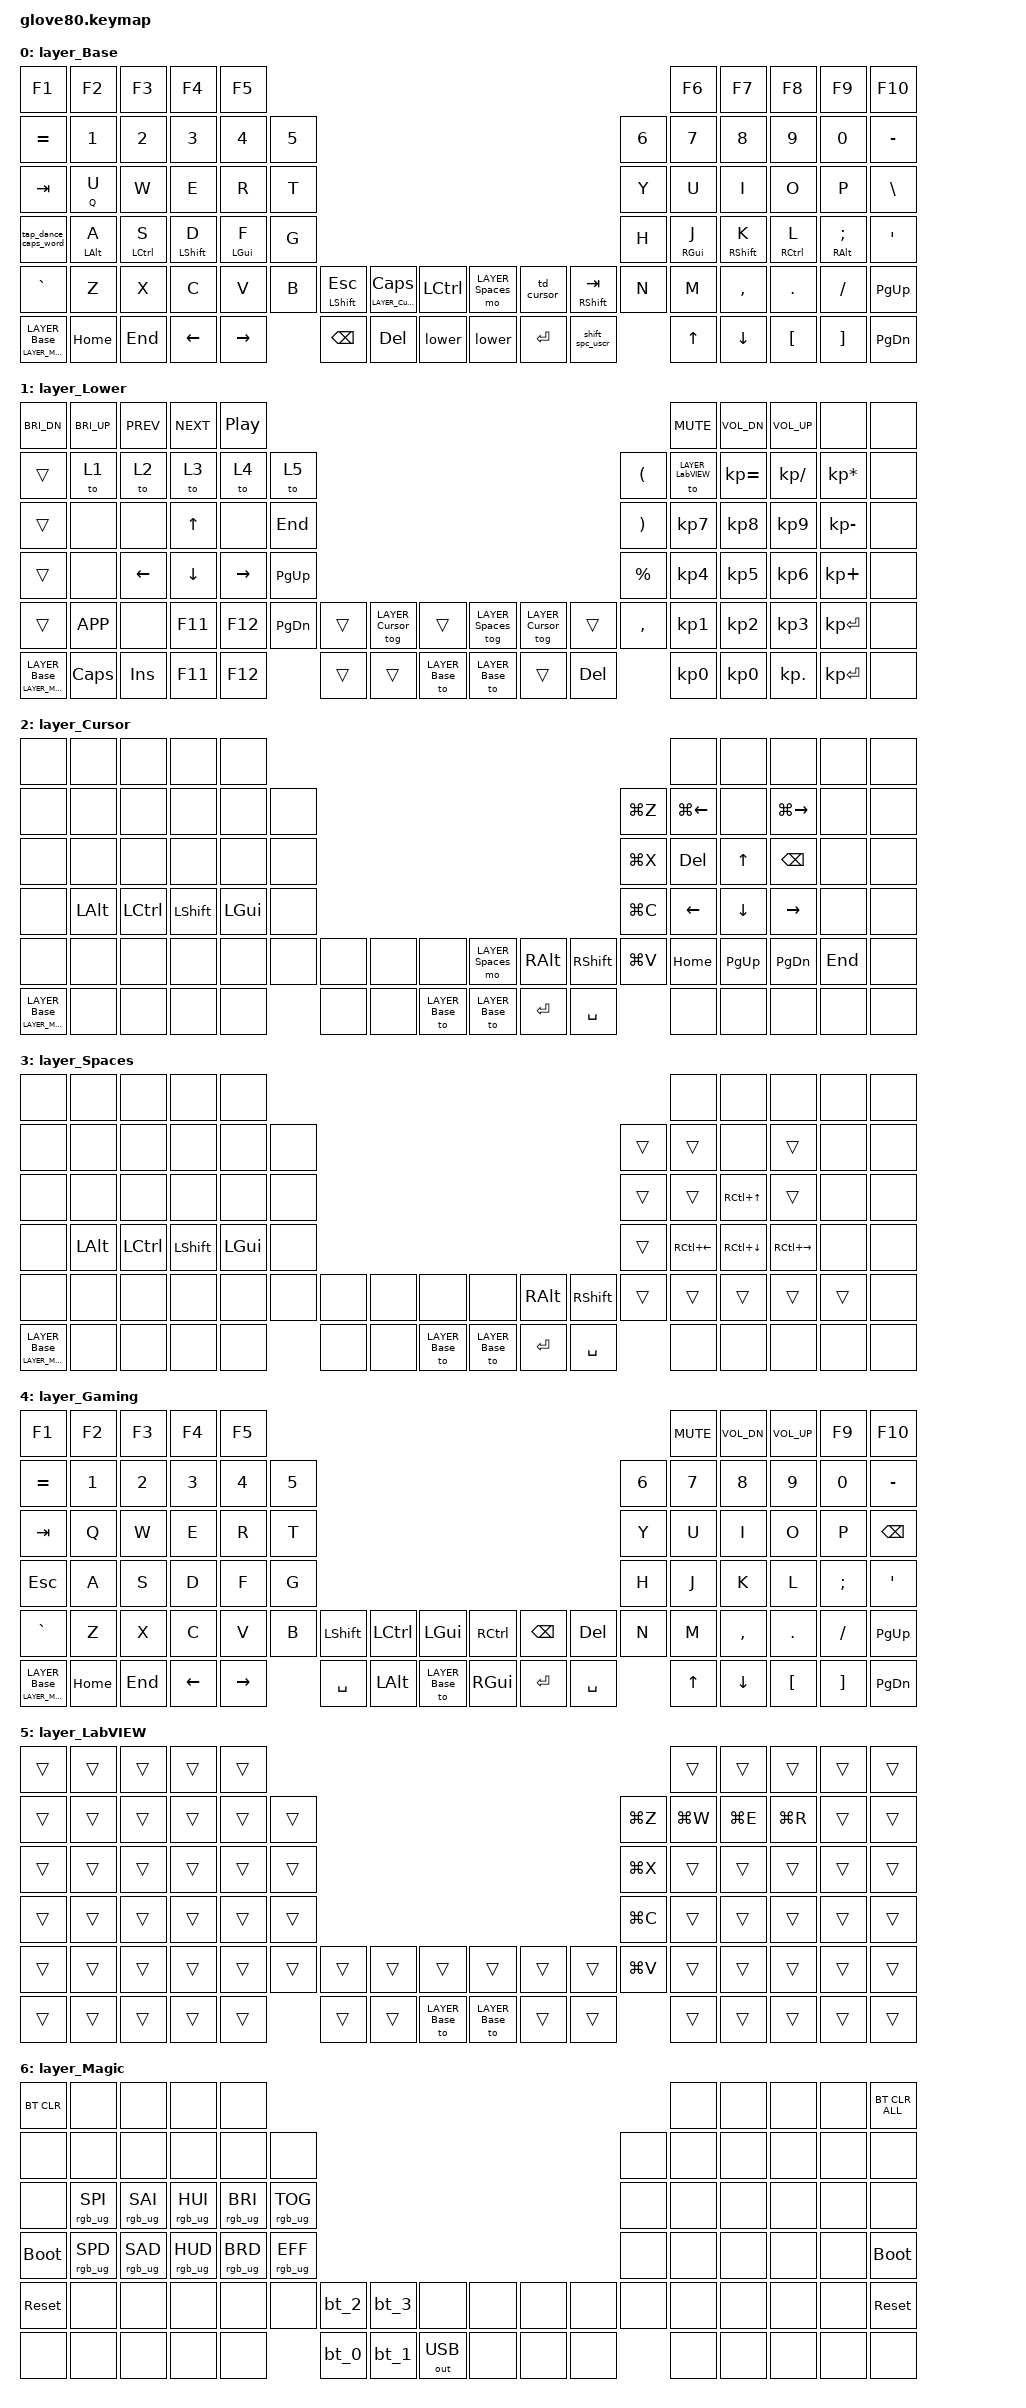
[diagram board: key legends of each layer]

/*
 * Copyright (c) 2020 The ZMK Contributors
 * Copyright (c) 2022 Innaworks Development Limited, trading as MoErgo
 *
 * SPDX-License-Identifier: MIT
 */


/* THIS FILE WAS GENERATED BY GLOVE80 LAYOUT EDITOR
 *
 * This file was generated automatically. You may or may not want to
 * edit it directly.
 */

/* comment to trigger keymap-drawing  */

#include <behaviors.dtsi>

/* Include behaviour includes needed by key binds - automatically generated */
#include <dt-bindings/zmk/keys.h>
#include <dt-bindings/zmk/bt.h>
#include <dt-bindings/zmk/rgb.h>
#include <dt-bindings/zmk/outputs.h>

#define LAYER_Base    0
#define LAYER_Lower   1
#define LAYER_Cursor  2
#define LAYER_Spaces  3
#define LAYER_Gaming  4
#define LAYER_LabVIEW 5
#define LAYER_Magic   6
// #define LAYER_Factory 7

/ {
    /* Glove80 system behavior & macros */
    behaviors {
        // For the "layer" key, it'd nice to be able to use it as either a shift or a toggle.
        // Configure it as a tap dance, so the first tap (or hold) is a &mo and the second tap is a &to
        lower: tap_dance_0 {
            compatible = "zmk,behavior-tap-dance";
            label = "LAYER_TAP_DANCE";
            #binding-cells = <0>;
            tapping-term-ms = <200>;
            bindings = <&mo LAYER_Lower>, <&to LAYER_Lower>;
        };
    };
};

/ {
    macros {
        rgb_ug_status_macro: rgb_ug_status_macro_0 {
            label = "RGB_UG_STATUS";
            compatible = "zmk,behavior-macro";
            #binding-cells = <0>;
            bindings
                = <&rgb_ug RGB_STATUS>;
        };

        bt_0: bt_profile_macro_0 {
            label = "BT_0";
            compatible = "zmk,behavior-macro";
            #binding-cells = <0>;
            bindings
                = <&out OUT_BLE>,
                  <&bt BT_SEL 0>;
        };

        bt_1: bt_profile_macro_1 {
            label = "BT_1";
            compatible = "zmk,behavior-macro";
            #binding-cells = <0>;
            bindings
                = <&out OUT_BLE>,
                  <&bt BT_SEL 1>;
        };

        bt_2: bt_profile_macro_2 {
            label = "BT_2";
            compatible = "zmk,behavior-macro";
            #binding-cells = <0>;
            bindings
                = <&out OUT_BLE>,
                  <&bt BT_SEL 2>;
        };

        bt_3: bt_profile_macro_3 {
            label = "BT_3";
            compatible = "zmk,behavior-macro";
            #binding-cells = <0>;
            bindings
                = <&out OUT_BLE>,
                  <&bt BT_SEL 3>;
        };

////////////////////////////////////////////////////////
//    Layer switch with RGB is disabled because an    //
//    upstream ZMK bug means RGBs in macros only      //
//    light up the left (main) side of the keyboard   //
////////////////////////////////////////////////////////
/*        
        to_layer_4_rgb_on: to_layer_4_rgb_on {
            label = "TO_LAYER_4_RGB_ON";
            compatible = "zmk,behavior-macro";
            #binding-cells = <0>;
            bindings
                = <&rgb_ug RGB_TOG>,
                  <&to 4>;
        };

        to_layer_0_rgb_off: to_layer_0_rgb_off {
            label = "TO_LAYER_0_RGB_OFF";
            compatible = "zmk,behavior-macro";
            #binding-cells = <0>;
            bindings
                = <&rgb_ug RGB_OFF>,
                  <&to 0>;
        };
*/
        ZMK_MACRO(Qu,
            wait-ms = <10>;
            tap-ms = <10>;
            bindings = <&macro_tap &kp Q>
                , <&macro_release &kp LSHFT>
                , <&macro_release &kp RSHFT>
                , <&macro_tap &kp U>
                ;
        )

        ZMK_MACRO(caps_macro,
            tap-ms = <200>;
            bindings = <&kp CAPS>;
        )
    
    };
};

/ {
    magic: magic_hold_tap {
        compatible = "zmk,behavior-hold-tap";
        label = "LAYER_Magic_HOLD_TAP";
        #binding-cells = <2>;
        flavor = "tap-preferred";
        tapping-term-ms = <200>;
        bindings = <&mo>, <&rgb_ug_status_macro>;
    };
};

    /* Custom Defined Behaviors */
/ {
//////////////////////////////////////////////////////////////////////
// IMPORTANT: You need to set Firmware Version to "pr16.zephyr-3-2" //
// or any other newer ZMK 3.2 based firmware (such as PR18 or PR19) //
// under Settings > Advanced Settings in the Glove80 Layout Editor! //
//////////////////////////////////////////////////////////////////////
//
// Adapted from...
//   Sunaku's Layout v21
// mostly to steal the home-row-mods
//
// https://sunaku.github.io/moergo-glove80-keyboard.html
// https://discord.com/channels/877392805654306816/1111469812850380831
//

behaviors {

    //
    // Miryoku home row mods and thumb layer keys
    // https://sunaku.github.io/home-row-mods.html
    // https://github.com/urob/zmk-config#timeless-homerow-mods
    //
    // TYPING_STREAK_TERM defines how long you need to wait (milliseconds)
    // after typing before you can use home row mods again.  It prevents
    // unintended activation of home row mods when you're actively typing.
    //
    #define TYPING_STREAK_TERM 160 // global-quick-tap-ms
    //
    // KEY_REPEATING_TERM defines how much time you have left (milliseconds)
    // after tapping a key to hold it again in order to make it auto-repeat.
    //
    #define KEY_REPEATING_TERM 300 // "tap then hold" for key auto-repeat
    //
    // HOMEY_TAPPING_TERM defines how long you need to hold (milliseconds)
    // home row mod keys in order to send their modifiers to the computer
    // (i.e. "register" them) for mod-click mouse usage (e.g. Ctrl-Click).
    //
    // NOTE: The "balanced" flavor of ZMK hold-tap for home row mods already
    // provides instant modifier activation for keyboard-only usage, so this
    // setting is meant for combined keyboard/mouse usage such as mod-clicks.
    //
    #define HOMEY_TAPPING_TERM 280 // TAPPING_TERM + ALLOW_CROSSOVER_AFTER
    //
    // INDEX_TAPPING_TERM defines how long you need to hold (milliseconds)
    // index finger keys in order to send their modifiers to the computer
    // (i.e. "register" them) for mod-click mouse usage (e.g. Shift-Click).
    //
    // NOTE: The "tap-preferred" flavor of ZMK hold-tap for index finger keys
    // allows faster activation of the Shift modifier (without having to wait
    // for the modified key to be released as the "balanced" flavor requires).
    // Typing streaks and the `hold-trigger-on-release` setting are disabled
    // for the index fingers so as not to hinder their speed and dexterity.
    //
    // CAUTION: You'll need to perform inward rolls from pinky->ring->middle
    // fingers toward the index fingers when activating multiple modifiers
    // because `hold-trigger-on-release` is disabled for the index fingers.
    // Otherwise, you may be surprised that the index fingers' modifier is
    // sent immediately without the rest of your multi-mod chord when you
    // perform outward rolls from your index fingers toward your pinkies.
    //
    #define INDEX_TAPPING_TERM 180
    //
    // THUMB_TAPPING_TERM defines how long you need to hold (milliseconds)
    // a thumb key to activate a layer.  Shorter holds are treated as taps.
    //
    #define THUMB_TAPPING_TERM 200
    
    //
    // THUMB_HOLDING_TYPE defines the flavor of ZMK hold-tap behavior to use
    // for the thumbs (which are assigned to 6 layers in the Miryoku system).
    //
    // NOTE: The "balanced" flavor of ZMK hold-tap provides instant modifier
    // activation for the symbol layer (if the tapped symbol key is released
    // while the thumb layer key is still held down) for quicker programming.
    //
    #define THUMB_HOLDING_TYPE "balanced"

    //
    // THUMB_HOLDING_TIME defines how long you need to hold (milliseconds)
    // a thumb key to activate a layer.  Shorter holds are treated as taps.
    //
    #define THUMB_HOLDING_TIME 200

    //
    // THUMB_REPEAT_DECAY defines how much time you have left (milliseconds)
    // after tapping a key to hold it again in order to make it auto-repeat.
    //
    #define THUMB_REPEAT_DECAY 300 // "tap then hold" for key auto-repeat

    //
    // Glove80 key positions index for positional hold-tap
    // https://discord.com/channels/877392805654306816/937645688244826154/1066713913351221248
    // https://media.discordapp.net/attachments/937645688244826154/1066713913133121556/image.png
    //
    // |------------------------|------------------------|
    // | LEFT_HAND_KEYS         |        RIGHT_HAND_KEYS |
    // |                        |                        |
    // |  0  1  2  3  4         |          5  6  7  8  9 |
    // | 10 11 12 13 14 15      |      16 17 18 19 20 21 |
    // | 22 23 24 25 26 27      |      28 29 30 31 32 33 |
    // | 34 35 36 37 38 39      |      40 41 42 43 44 45 |
    // | 46 47 48 49 50 51      |      58 59 60 61 62 63 |
    // | 64 65 66 67 68         |         75 76 77 78 79 |
    // |                69 52   |   57 74                |
    // |                 70 53  |  56 73                 |
    // |                  71 54 | 55 72                  |
    // |------------------------|------------------------|
    //
    #define LEFT_HAND_KEYS      \
          0  1  2  3  4         \
         10 11 12 13 14 15      \
         22 23 24 25 26 27      \
         34 35 36 37 38 39      \
         46 47 48 49 50 51      \
         64 65 66 67 68
    #define RIGHT_HAND_KEYS     \
                                           5  6  7  8  9 \
                                       16 17 18 19 20 21 \
                                       28 29 30 31 32 33 \
                                       40 41 42 43 44 45 \
                                       58 59 60 61 62 63 \
                                          75 76 77 78 79
    #define THUMB_KEYS          \
                        69 52       57 74                \
                         70 53     56 73                 \
                          71 54   55 72
    

    #define LINGER_KEYS_TAP_TERM 170
    
    //
    // Home row mod-tap keys for all except index fingers
    //
    homey_left: miryoku_home_row_mods_left_hand {
        compatible = "zmk,behavior-hold-tap";
        label = "HOME_ROW_MODS_LEFT_HAND";
        flavor = "balanced";
        hold-trigger-key-positions = <RIGHT_HAND_KEYS THUMB_KEYS>;
        hold-trigger-on-release; // wait for other home row mods
        tapping-term-ms = <HOMEY_TAPPING_TERM>;
        quick-tap-ms = <TYPING_STREAK_TERM>;
        global-quick-tap; // with typing streak
        #binding-cells = <2>;
        bindings = <&kp>, <&kp>;
    };
    homey_right: miryoku_home_row_mods_right_hand {
        compatible = "zmk,behavior-hold-tap";
        label = "HOME_ROW_MODS_RIGHT_HAND";
        flavor = "balanced";
        hold-trigger-key-positions = <LEFT_HAND_KEYS THUMB_KEYS>;
        hold-trigger-on-release; // wait for other home row mods
        tapping-term-ms = <HOMEY_TAPPING_TERM>;
        quick-tap-ms = <TYPING_STREAK_TERM>;
        global-quick-tap; // with typing streak
        #binding-cells = <2>;
        bindings = <&kp>, <&kp>;
    };
    //
    // Special home row mod-tap keys for the index fingers
    //
    index_left: miryoku_home_row_mods_left_index_shift {
        compatible = "zmk,behavior-hold-tap";
        label = "HOME_ROW_MODS_LEFT_INDEX_SHIFT";
        flavor = "tap-preferred";
        hold-trigger-key-positions = <RIGHT_HAND_KEYS THUMB_KEYS>;
        //hold-trigger-on-release; // don't wait for other mods
        tapping-term-ms = <INDEX_TAPPING_TERM>;
        quick-tap-ms = <KEY_REPEATING_TERM>; // enable repeat
        //global-quick-tap; // no typing streak
        #binding-cells = <2>;
        bindings = <&kp>, <&kp>;
    };
    index_right: miryoku_home_row_mods_right_index_shift {
        compatible = "zmk,behavior-hold-tap";
        label = "HOME_ROW_MODS_RIGHT_INDEX_SHIFT";
        flavor = "tap-preferred";
        hold-trigger-key-positions = <LEFT_HAND_KEYS THUMB_KEYS>;
        //hold-trigger-on-release; // don't wait for other mods
        tapping-term-ms = <INDEX_TAPPING_TERM>;
        quick-tap-ms = <KEY_REPEATING_TERM>; // enable repeat
        //global-quick-tap; // no typing streak
        #binding-cells = <2>;
        bindings = <&kp>, <&kp>;
    };

    //
    // Thumb cluster hold-tap keys for Miryoku layers
    //
    thumb: miryoku_thumb_layer {
        compatible = "zmk,behavior-hold-tap";
        label = "MIRYOKU_THUMB_LAYER";
        flavor = THUMB_HOLDING_TYPE; // balanced
        tapping-term-ms = <THUMB_HOLDING_TIME>; // 200
        quick-tap-ms = <THUMB_REPEAT_DECAY>; // enable repeat / 300
        //global-quick-tap; // no typing streak
        //retro-tap; // don't allow slow (hold-like) taps
        #binding-cells = <2>;
        bindings = <&mo>, <&kp>;
    };

    //
    // Thumb cluster hold-tap keys for Miryoku layers
    // Special version just for use with CAPS
    thumb_caps: miryoku_thumb_layer_caps {
        compatible = "zmk,behavior-hold-tap";
        label = "MIRYOKU_THUMB_LAYER";
        flavor = THUMB_HOLDING_TYPE; // balanced
        tapping-term-ms = <THUMB_HOLDING_TIME>; // 200
        quick-tap-ms = <THUMB_REPEAT_DECAY>; // enable repeat / 300
        //global-quick-tap; // no typing streak
        //retro-tap; // don't allow slow (hold-like) taps
        #binding-cells = <2>;
        bindings = <&mo>, <&caps_macro>;
    };


    tap_dance_caps_word: tap_dance_caps_word {
        compatible = "zmk,behavior-tap-dance";
        label = "TAP_DANCE_CAPS_WORD";
        #binding-cells = <0>;
        tapping-term-ms = <200>;
        bindings = <&caps_word>, <&kp CAPS>;
    };

    //
    // CapsWord - ported from Pascal Getreuer's extension for QMK
    // https://zmk.dev/docs/behaviors/caps-word
    // https://getreuer.info/posts/keyboards/caps-word/index.html
    //
    behavior_caps_word {
      continue-list = <UNDERSCORE MINUS BACKSPACE DELETE N1 N2 N3 N4 N5 N6 N7 N8 N9 N0>;
    };


    lk_qu: lk_qu {
        compatible = "zmk,behavior-hold-tap";
        label = "lk_qu";
        #binding-cells = <2>;
        tapping-term-ms = <LINGER_KEYS_TAP_TERM>;
        flavor = "tap-preferred";
        bindings = <&kp>, <&Qu>;
    };

    td_cursor: tap_dance_layer_cursor {
        compatible = "zmk,behavior-tap-dance";
        label = "LAYER_TAP_DANCE_CURSOR";
        #binding-cells = <0>;
        tapping-term-ms = <200>;
        bindings = <&mo LAYER_Cursor>, <&to LAYER_Cursor>;
    };

    shift_spc_uscr: shift_spc_uscr {
        compatible = "zmk,behavior-mod-morph";
        #binding-cells = <0>;
        bindings = <&kp SPACE>, <&kp UNDERSCORE>;
        mods = <(MOD_LSFT)>;    // only left shift to hopefully reduce accidental activations
    };

};



};

/* Sunaku's layers */
// #define LAYER_Base 0
// #define LAYER_Lower 1
// #define LAYER_Magic 2
// #define LAYER_Cursor 3
// #define LAYER_Number 4
// #define LAYER_Function 5
// #define LAYER_Symbol 6
// #define LAYER_Mouse 7
// #define LAYER_System 8
// #define LAYER_Gaming 9
// #define LAYER_Typing 10
// #define LAYER_Emoji 11
// #define LAYER_World 12

/* My layers */
// #define LAYER_Base    0
// #define LAYER_Lower   1
// #define LAYER_Cursor  2
// #define LAYER_Spaces  3
// #define LAYER_Gaming  4
// #define LAYER_Magic   5
// #define LAYER_Factory 6

    /* Automatically generated keymap */
/ {
    keymap {
        compatible = "zmk,keymap";


        layer_Base {
            bindings = <        
    &kp F1                             &kp F2              &kp F3              &kp F4              &kp F5                                                                                                                                                                                                      &kp F6              &kp F7                  &kp F8                  &kp F9                      &kp F10
    &kp EQUAL                          &kp N1              &kp N2              &kp N3              &kp N4              &kp N5                                                                                                                                                                          &kp N6  &kp N7              &kp N8                  &kp N9                  &kp N0                      &kp MINUS
    &kp TAB                            &lk_qu Q U          &kp W               &kp E               &kp R               &kp T                                                                                                                                                                           &kp Y   &kp U               &kp I                   &kp O                   &kp P                       &kp BSLH
    &tap_dance_caps_word               &homey_left LALT A  &homey_left LCTRL S &index_left LSHFT D &homey_left LGUI F  &kp G                                                                                                                                                                           &kp H   &homey_right RGUI J &index_right RSHFT K    &homey_right RCTRL L    &homey_right RALT SEMICOLON &kp SQT
    &kp GRAVE                          &kp Z               &kp X               &kp C               &kp V               &kp B        &homey_left LSHFT ESC   &thumb_caps LAYER_Cursor CAPS   &kp LCTRL                   &mo LAYER_Spaces           &td_cursor                  &homey_right RSHFT TAB  &kp N   &kp M               &kp COMMA               &kp DOT                 &kp FSLH                    &kp PG_UP
    &magic LAYER_Magic LAYER_Base      &kp HOME            &kp END             &kp LEFT            &kp RIGHT                        &kp BSPC                &kp DEL                         &lower                      &lower                     &kp ENTER                   &shift_spc_uscr                 &kp UP              &kp DOWN                &kp LBKT                &kp RBKT                    &kp PG_DN
            >;
        };

        layer_Lower {
            bindings = <
    &kp C_BRI_DN                    &kp C_BRI_UP        &kp C_PREV            &kp C_NEXT          &kp C_PP                                                                                                                                                                                                                     &kp C_MUTE           &kp C_VOL_DN    &kp C_VOL_UP    &none           &none
    &trans                          &to 1               &to 2                 &to 3               &to 4                 &to 5                                                                                                                                                                          &kp LEFT_PARENTHESIS    &to LAYER_LabVIEW   &kp KP_EQUAL    &kp KP_SLASH    &kp KP_MULTIPLY &none
    &trans                          &none               &none                 &kp UP              &none                 &kp END                                                                                                                                                                        &kp RIGHT_PARENTHESIS   &kp KP_N7            &kp KP_N8       &kp KP_N9       &kp KP_MINUS    &none
    &trans                          &none               &kp LEFT              &kp DOWN            &kp RIGHT             &kp PG_UP                                                                                                                                                                      &kp PERCENT             &kp KP_N4            &kp KP_N5       &kp KP_N6       &kp KP_PLUS     &none 
    &trans                          &kp K_APP           &none                 &kp F11             &kp F12               &kp PG_DN   &trans                  &tog LAYER_Cursor               &trans                      &tog LAYER_Spaces          &tog LAYER_Cursor           &trans                  &kp COMMA               &kp KP_N1            &kp KP_N2       &kp KP_N3       &kp KP_ENTER    &none
    &magic LAYER_Magic LAYER_Base   &kp CAPS            &kp INS               &kp F11             &kp F12                           &trans                  &trans                          &to LAYER_Base              &to LAYER_Base             &trans                      &kp DEL                                         &kp KP_N0            &kp KP_N0       &kp KP_DOT      &kp KP_ENTER    &none
            >;
        };

        layer_Cursor {
            bindings = <
    &none                         &none    &none       &none       &none                                                                                                         &none              &none           &none               &none    &none
    &none                         &none    &none       &none       &none       &none                                                                                &kp LG(Z)    &kp LG(LEFT)       &none           &kp LG(RIGHT)       &none    &none
    &none                         &none    &none       &none       &none       &none                                                                                &kp LG(X)    &kp DEL            &kp UP          &kp BSPC            &none    &none
    &none                         &kp LALT &kp LCTRL   &kp LSHFT   &kp LGUI    &none                                                                                &kp LG(C)    &kp LEFT           &kp DOWN        &kp RIGHT           &none    &none
    &none                         &none    &none       &none       &none       &none   &none  &none  &none                &mo LAYER_Spaces &kp RALT   &kp RSHFT     &kp LG(V)    &kp HOME           &kp PG_UP       &kp PG_DN           &kp END  &none
    &magic LAYER_Magic LAYER_Base &none    &none       &none       &none               &none  &none  &to LAYER_Base       &to LAYER_Base   &kp ENTER  &kp SPACE                  &none              &none           &none               &none    &none
            >;
        };

        layer_Spaces {
            bindings = <
    &none                         &none    &none       &none       &none                                                                                                       &none               &none               &none               &none    &none
    &none                         &none    &none       &none       &none       &none                                                                               &trans      &trans              &none               &trans              &none    &none
    &none                         &none    &none       &none       &none       &none                                                                               &trans      &trans              &kp RC(UP)          &trans              &none    &none
    &none                         &kp LALT &kp LCTRL   &kp LSHFT   &kp LGUI    &none                                                                               &trans      &kp RC(LEFT)        &kp RC(DOWN)        &kp RC(RIGHT)       &none    &none
    &none                         &none    &none       &none       &none       &none   &none  &none  &none                &none           &kp RALT   &kp RSHFT     &trans      &trans              &trans              &trans              &trans  &none
    &magic LAYER_Magic LAYER_Base &none    &none       &none       &none               &none  &none  &to LAYER_Base       &to LAYER_Base  &kp ENTER  &kp SPACE                 &none               &none               &none               &none    &none
            >;
        };

        layer_Gaming {
            bindings = <
    &kp F1                         &kp F2      &kp F3   &kp F4    &kp F5                                                                                                              &kp C_MUTE  &kp C_VOL_DN    &kp C_VOL_UP    &kp F9          &kp F10
    &kp EQUAL                      &kp N1      &kp N2   &kp N3    &kp N4       &kp N5                                                                                         &kp N6  &kp N7      &kp N8          &kp N9          &kp N0          &kp MINUS
    &kp TAB                        &kp Q       &kp W    &kp E     &kp R        &kp T                                                                                          &kp Y   &kp U       &kp I           &kp O           &kp P           &kp BSPC
    &kp ESC                        &kp A       &kp S    &kp D     &kp F        &kp G                                                                                          &kp H   &kp J       &kp K           &kp L           &kp SEMICOLON   &kp SQT
    &kp GRAVE                      &kp Z       &kp X    &kp C     &kp V        &kp B   &kp LSHFT   &kp LCTRL    &kp LGUI               &kp RCTRL   &kp BSPC      &kp DEL      &kp N   &kp M       &kp COMMA       &kp DOT         &kp FSLH        &kp PG_UP
    &magic LAYER_Magic LAYER_Base  &kp HOME    &kp END  &kp LEFT  &kp RIGHT            &kp SPACE   &kp LALT     &to LAYER_Base         &kp RGUI    &kp ENTER     &kp SPACE            &kp UP      &kp DOWN        &kp LBKT        &kp RBKT        &kp PG_DN
            >;
        };

        layer_LabVIEW {
            bindings = <
    &trans &trans &trans &trans &trans                                                                                        &trans    &trans    &trans    &trans &trans
    &trans &trans &trans &trans &trans &trans                                                                       &kp LG(Z) &kp LG(W) &kp LG(E) &kp LG(R) &trans &trans
    &trans &trans &trans &trans &trans &trans                                                                       &kp LG(X) &trans    &trans    &trans    &trans &trans
    &trans &trans &trans &trans &trans &trans                                                                       &kp LG(C) &trans    &trans    &trans    &trans &trans
    &trans &trans &trans &trans &trans &trans &trans &trans &trans                             &trans &trans &trans &kp LG(V) &trans    &trans    &trans    &trans &trans
    &trans &trans &trans &trans &trans        &trans &trans &to LAYER_Base      &to LAYER_Base &trans &trans           &trans &trans    &trans    &trans    &trans
            >;
        };

        layer_Magic {
            bindings = <
    &bt BT_CLR  &none            &none            &none            &none                                                                                            &none   &none   &none   &none   &bt BT_CLR_ALL
    &none       &none            &none            &none            &none            &none                                                                           &none   &none   &none   &none   &none           &none 
    &none       &rgb_ug RGB_SPI  &rgb_ug RGB_SAI  &rgb_ug RGB_HUI  &rgb_ug RGB_BRI  &rgb_ug RGB_TOG                                                                 &none   &none   &none   &none   &none           &none 
    &bootloader &rgb_ug RGB_SPD  &rgb_ug RGB_SAD  &rgb_ug RGB_HUD  &rgb_ug RGB_BRD  &rgb_ug RGB_EFF                                                                 &none   &none   &none   &none   &none           &bootloader
    &sys_reset  &none            &none            &none            &none            &none           &bt_2   &bt_3  &none                    &none   &none   &none   &none   &none   &none   &none   &none           &sys_reset
    &none       &none            &none            &none            &none                            &bt_0   &bt_1  &out OUT_USB             &none   &none   &none           &none   &none   &none   &none           &none
            >;
        };

/*        layer_Factory {
            bindings = <
    &kp NUMBER_0  &kp NUMBER_6  &kp NUMBER_2  &kp NUMBER_8  &kp NUMBER_4                                                                                                                       &kp NUMBER_4  &kp NUMBER_8  &kp NUMBER_2  &kp NUMBER_6  &kp NUMBER_0
    &kp NUMBER_1  &kp NUMBER_7  &kp NUMBER_3  &kp NUMBER_9  &kp NUMBER_5  &kp NUMBER_0                                                                                           &kp NUMBER_0  &kp NUMBER_5  &kp NUMBER_9  &kp NUMBER_3  &kp NUMBER_7  &kp NUMBER_1
    &kp NUMBER_2  &kp NUMBER_8  &kp NUMBER_4  &kp NUMBER_0  &kp NUMBER_6  &kp NUMBER_1                                                                                           &kp NUMBER_1  &kp NUMBER_6  &kp NUMBER_0  &kp NUMBER_4  &kp NUMBER_8  &kp NUMBER_2
    &kp NUMBER_3  &kp NUMBER_9  &kp NUMBER_5  &kp NUMBER_1  &kp NUMBER_7  &kp NUMBER_2                                                                                           &kp NUMBER_2  &kp NUMBER_7  &kp NUMBER_1  &kp NUMBER_5  &kp NUMBER_9  &kp NUMBER_3
    &kp NUMBER_4  &kp NUMBER_0  &kp NUMBER_6  &kp NUMBER_2  &kp NUMBER_8  &kp NUMBER_3  &kp NUMBER_4  &kp NUMBER_5  &kp NUMBER_6       &kp NUMBER_6  &kp NUMBER_5  &kp NUMBER_4  &kp NUMBER_3  &kp NUMBER_8  &kp NUMBER_2  &kp NUMBER_6  &kp NUMBER_0  &kp NUMBER_4
    &magic LAYER_Magic LAYER_Base  &kp NUMBER_1  &kp NUMBER_7  &kp NUMBER_3  &kp NUMBER_9                &kp NUMBER_7  &kp NUMBER_8  &kp NUMBER_9       &kp NUMBER_9  &kp NUMBER_8  &kp NUMBER_7                &kp NUMBER_9  &kp NUMBER_3  &kp NUMBER_7  &kp NUMBER_1  &kp NUMBER_5
            >;
        };
*/

/*        layer_Blank {
            bindings = <
    &none  &none  &none  &none  &none                                                               &none  &none  &none  &none  &none
    &none  &none  &none  &none  &none  &none                                                 &none  &none  &none  &none  &none  &none
    &none  &none  &none  &none  &none  &none                                                 &none  &none  &none  &none  &none  &none
    &none  &none  &none  &none  &none  &none                                                 &none  &none  &none  &none  &none  &none
    &none  &none  &none  &none  &none  &none  &none  &none  &none       &none  &none  &none  &none  &none  &none  &none  &none  &none
    &none  &none  &none  &none  &none         &none  &none  &none       &none  &none  &none         &none  &none  &none  &none  &none
            >;
        };
*/

/*        layer_Trans {
            bindings = <
    &trans &trans &trans &trans &trans                                                              &trans &trans &trans &trans &trans
    &trans &trans &trans &trans &trans &trans                                                &trans &trans &trans &trans &trans &trans
    &trans &trans &trans &trans &trans &trans                                                &trans &trans &trans &trans &trans &trans
    &trans &trans &trans &trans &trans &trans                                                &trans &trans &trans &trans &trans &trans
    &trans &trans &trans &trans &trans &trans &trans &trans &trans      &trans &trans &trans &trans &trans &trans &trans &trans &trans
    &trans &trans &trans &trans &trans        &trans &trans &trans      &trans &trans &trans        &trans &trans &trans &trans &trans
            >;
        };
*/
    //     layer_Sunaku_Base {
    //         bindings = <
    // &kp F1        &kp F2                &kp F3               &kp F4               &kp F5                                                                                                                                                                &kp F6                &kp F7                &kp F8               &kp F9                 &kp F10
    // &kp EQUAL     &kp N1                &kp N2               &kp N3               &kp N4                &kp N5                                                                                                                             &kp N6       &kp N7                &kp N8                &kp N9               &kp N0                 &kp BSLH
    // &kp GRAVE     &kp B                 &homey_left RALT Y   &kp O                &kp U                 &kp SQT                                                                                                                            &kp SEMI     &kp L                 &kp D                 &homey_right RALT W  &kp V                  &kp Z
    // &cappy        &homey_left LGUI C    &homey_left LALT I   &homey_left LCTRL E  &index_left LSHFT A   &kp COMMA                                                                                                                          &kp DOT      &index_right LSHFT H  &homey_right LCTRL T  &homey_right LALT S  &homey_right LGUI N    &kp Q
    // &kp LSHFT     &kp G                 &kp X                &kp J                &kp K                 &kp MINUS           &thumb 5 ESC        &kp UP             &kp DOWN              &kp LEFT       &kp RIGHT       &thumb 8 ENTER     &kp FSLH     &kp R                 &kp M                 &kp F                &kp P                  &kp RSHFT
    // &magic 2 0    &kp HOME              &kp PG_UP            &kp PG_DN            &kp END                                   &thumb 3 BACKSPACE  &thumb 4 DELETE    &lower                &lower         &thumb 7 TAB    &thumb 6 SPACE                  &parang_left          &kp LBKT              &kp RBKT             &parang_right          &magic 2 0
    //         >;
    //     };

    };
};
